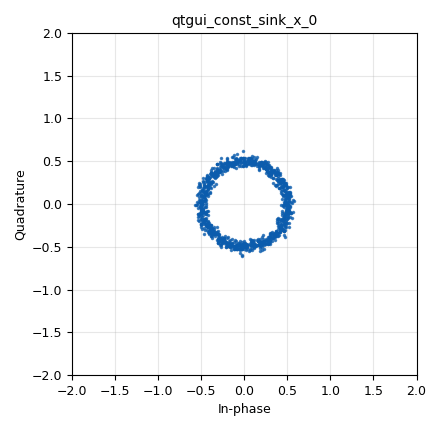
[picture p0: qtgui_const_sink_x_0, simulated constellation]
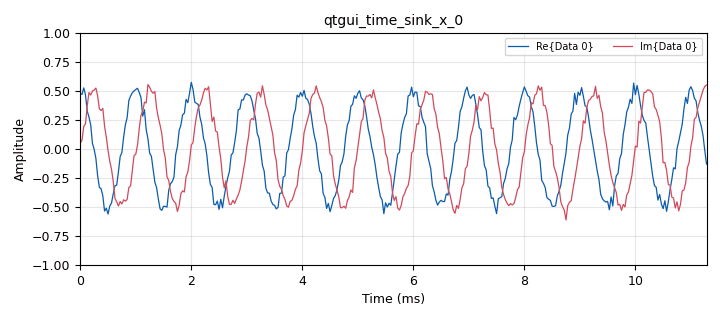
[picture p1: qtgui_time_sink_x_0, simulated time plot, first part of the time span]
<?xml version='1.0' encoding='utf-8'?>
<?grc format='1' created='3.7.13'?>
<flow_graph>
<block>
<key>options</key>
<param><key>id</key><value>b_help</value></param>
<param><key>author</key><value>Homero Ortega Boada</value></param>
<param><key>category</key><value>comdiguis</value></param>
<param><key>description</key><value>Guardando aqui todos los bloques de programacion embebida</value></param>
<param><key>generate_options</key><value>hb_qt_gui</value></param>
<param><key>title</key><value>b_help</value></param>
</block>
<block>
<key>variable_qtgui_check_box</key>
<param><key>id</key><value>run_stop</value></param>
<param><key>value</key><value>True</value></param>
<param><key>_enabled</key><value>0</value></param>
<param><key>false</key><value>False</value></param>
<param><key>gui_hint</key><value>0,0,1,1</value></param>
<param><key>label</key><value>Inicial/Parar</value></param>
<param><key>true</key><value>True</value></param>
<param><key>type</key><value>real</value></param>
</block>
<block>
<key>variable</key>
<param><key>id</key><value>samp_rate</value></param>
<param><key>value</key><value>32000</value></param>
</block>
<block>
<key>epy_block</key>
<param><key>id</key><value>VCO_hob</value></param>
<param><key>_source_code</key><value>import math
import numpy as np
from gnuradio import gr

class blk(gr.sync_block):
    """genera una senoidad cuyos parametros pueden ser manipulados por las senales entrantes asi: la primera senal manipula la amplitud; la segunda la frecuencia; la tercera la fase"""
    def __init__(self):  # only default arguments here
        gr.sync_block.__init__(
            self,
            name='VCO_hob',   # will show up in GRC
            in_sig=[np.float32, np.float32, np.float32],
            out_sig=[np.float32]
        )
        self.n_m=0 # guarda el ultimo valor de n

    def work(self, input_items, output_items):
        A=input_items[0]
        F=input_items[1]
        P=input_items[2]
        out=output_items[0]
        L=len(A)
        n=np.linspace(self.n_m, self.n_m+L-1,L)
        self.n_m += L
        out[:]=A*np.cos(2*math.pi*F*n+P)
        return len(out)
</value></param>
<param><key>_enabled</key><value>0</value></param>
</block>
<block>
<key>analog_noise_source_x</key>
<param><key>id</key><value>analog_noise_source_x_0</value></param>
<param><key>amp</key><value>0.1</value></param>
<param><key>noise_type</key><value>analog.GR_GAUSSIAN</value></param>
<param><key>type</key><value>complex</value></param>
<param><key>seed</key><value>0</value></param>
</block>
<block>
<key>analog_sig_source_x</key>
<param><key>id</key><value>analog_sig_source_x_0</value></param>
<param><key>amp</key><value>1</value></param>
<param><key>freq</key><value>1000</value></param>
<param><key>offset</key><value>0</value></param>
<param><key>type</key><value>complex</value></param>
<param><key>samp_rate</key><value>samp_rate</value></param>
<param><key>waveform</key><value>analog.GR_COS_WAVE</value></param>
</block>
<block>
<key>epy_module</key>
<param><key>id</key><value>coding</value></param>
<param><key>source_code</key><value># this module will be imported in the into your flowgraph
import numpy
import math
#######################################################
##        Done by Homero Ortega Boada              ##
##        comdiguis@saber.uis.edu.co                 ##
##     Universidad Industrial de Santander           ##
#######################################################
#######################################################
##       Constellation map  identification           ##
#######################################################                  
# Constellation points are analyzed to determine the 
# the map used for ordering of the constellation points
def sum_modulus(a,b,modulus):
    # realiza una suma de a y b en modulo modulus
    return (a+b)%modulus

def angle_map(constellation_points):
    # esta funcion entrega todos los angulos positivos entre 0 y 2pi
    angles=numpy.angle(constellation_points)
    return sum_modulus(angles, 2*math.pi, 2*math.pi)

def inverse_map(constellation_points):
    M=len(constellation_points)
    angles=angle_map(constellation_points)
    angles=sum_modulus(angles,-angles[0], 2*math.pi) # giro a agulo cero
    delta_angle= 2*math.pi/M     # angulo entre puntos
    cod_inv=numpy.round(angles/delta_angle)
    cod_inv=cod_inv.astype(numpy.int) #conversion a entero 
    return cod_inv

def direct_map(constellation_points):
    M=len(constellation_points)
    codinv=inverse_map(constellation_points)
    coddirect=numpy.array([0]*M)
    for j in range(M):
        temp=numpy.where(codinv==j)
        coddirect[j]=temp[0][0]
    return coddirect

""" # SECCION DE PRUEBAS DEL CODIGO
import gnuradio.digital as digital
constelacion=digital.constellation_8psk().points()
print("constelacion = ", constelacion)
mapdirect=direct_map(constelacion)
print("codigo directo = ", mapdirect)
mapinverse=inverse_map(constelacion)
print("codigo inverso = ", mapinverse)
"""






</value></param>
</block>
<block>
<key>epy_block</key>
<param><key>id</key><value>e_Add</value></param>
<param><key>_source_code</key><value>import numpy as np
from gnuradio import gr

class blk(gr.sync_block):  
#    """Suma dos senales tipo char"""
    def __init__(self,):  # only default arguments here
        gr.sync_block.__init__(
            self,
            name='e_Add_bb',   # will show up in GRC
            in_sig=[np.int8, np.int8],
            out_sig=[np.int8]
        )

    def work(self, input_items, output_items):
        output_items[0][:] = input_items[0]+input_items[1]
        return len(output_items[0])
</value></param>
<param><key>_enabled</key><value>0</value></param>
</block>
<block>
<key>epy_block</key>
<param><key>id</key><value>e_M_decisor_0</value></param>
<param><key>_source_code</key><value>import numpy as np
from gnuradio import gr

class blk(gr.sync_block):  
#    """M-ary Decisor. Es un decisor para senales M_PAM. VP es el valor pico de la senal entrante"""
    def __init__(self,M=4, Vp=4):  # only default arguments here
        gr.sync_block.__init__(
            self,
            name='e_M_PAM_decisor',   # will show up in GRC
            in_sig=[np.float32],
            out_sig=[np.int8]
        )
	self.M=M
	self.Vp=Vp

    def work(self, input_items, output_items):
	mpam_con_ruido=input_items[0]*(self.M+1)/(2*self.Vp)
	mpam_sin_ruido=np.round(mpam_con_ruido)

        output_items[0][:] = mpam_sin_ruido.astype(np.int8)
        return len(output_items[0])
</value></param>
<param><key>_enabled</key><value>0</value></param>
<param><key>M</key><value>M</value></param>
<param><key>Vp</key><value>3</value></param>
</block>
<block>
<key>epy_block</key>
<param><key>id</key><value>e_Multiply</value></param>
<param><key>_source_code</key><value>import numpy as np
from gnuradio import gr

class blk(gr.sync_block):  
#    """Multiplica dos senales tipo char"""
    def __init__(self,):  # only default arguments here
        gr.sync_block.__init__(
            self,
            name='e_Multiply_bb',   # will show up in GRC
            in_sig=[np.int8, np.int8],
            out_sig=[np.int8]
        )

    def work(self, input_items, output_items):
        output_items[0][:] = input_items[0]*input_items[1]
        return len(output_items[0])
</value></param>
<param><key>_enabled</key><value>0</value></param>
</block>
<block>
<key>epy_block</key>
<param><key>id</key><value>e_VCO_fase_fc_0</value></param>
<param><key>_source_code</key><value>
import numpy as np
from gnuradio import gr


class blk(gr.sync_block):  
    """Done by Homero Ortega Boada. Es un VCO dos entradas: 
	in0 para manipular la fase, in1 para manipular la 
	magnitud. En el fondo es el equivalente a un generador
	de una senal exponencial compleja. Sobre la configuracion:
	cada valor de la senal en in0 es interpretada como la fase
	deseada en radianes. cada valor de in0, es la magnitud deseada"""

    def __init__(self): 
        gr.sync_block.__init__(self,
            name='e_VCO_fase_fc',
	    in_sig=[np.float32, np.float32],
            out_sig=[np.complex64]
        )
    def work(self, input_items, output_items):
	in0=input_items[0]
	in1=input_items[1]
	out0=output_items[0]
	out0[:] = in1*np.exp(1.j*in0)
	return len(out0)
</value></param>
<param><key>_enabled</key><value>0</value></param>
</block>
<block>
<key>epy_block</key>
<param><key>id</key><value>e_VCO_fase_fc_0_0</value></param>
<param><key>_source_code</key><value>
import numpy as np
from gnuradio import gr


class blk(gr.sync_block):  
    """Done by Homero Ortega Boada. Es un VCO dos entradas: 
	in0 para manipular la fase, in1 para manipular la 
	magnitud. En el fondo es el equivalente a un generador
	de una senal exponencial compleja. Sobre la configuracion:
	cada valor de la senal en in0 es interpretada como la fase
	deseada en radianes. cada valor de in0, es la magnitud deseada"""

    def __init__(self): 
        gr.sync_block.__init__(self,
            name='e_VCO_fase_fc',
	    in_sig=[np.float32, np.float32],
            out_sig=[np.complex64]
        )
    def work(self, input_items, output_items):
	in0=input_items[0]
	in1=input_items[1]
	out0=output_items[0]
	out0[:] = in1*np.exp(1.j*in0)
	return len(out0)
</value></param>
<param><key>_enabled</key><value>0</value></param>
</block>
<block>
<key>epy_block</key>
<param><key>id</key><value>e_bipol_to_unip</value></param>
<param><key>_source_code</key><value>import numpy as np
from gnuradio import gr

class blk(gr.sync_block):  
#    """convierte de bipolar a unipolar una senal tipo char"""
    def __init__(self,):  # only default arguments here
        gr.sync_block.__init__(
            self,
            name='e_bipolar_to_unipolar_bb',   # will show up in GRC
            in_sig=[np.int8],
            out_sig=[np.int8]
        )

    def work(self, input_items, output_items):

        output_items[0][:] = (input_items[0]+1)/2
        return len(output_items[0])
</value></param>
<param><key>_enabled</key><value>0</value></param>
</block>
<block>
<key>epy_block</key>
<param><key>id</key><value>e_bipol_to_unip_M</value></param>
<param><key>_source_code</key><value>import numpy as np
from gnuradio import gr

class blk(gr.sync_block):  
#    """convierte de bipolar a unipolar una senal tipo char M-aria"""
    def __init__(self, M=2):  # only default arguments here
        gr.sync_block.__init__(
            self,
            name='e_bipolar_to_unipolar_M_bb',   # will show up in GRC
            in_sig=[np.int8],
            out_sig=[np.int8]
        )
	self.M=M
    def work(self, input_items, output_items):

        output_items[0][:] = (input_items[0]+(self.M-1))/2
        return len(output_items[0])
</value></param>
<param><key>_enabled</key><value>0</value></param>
<param><key>M</key><value>2</value></param>
</block>
<block>
<key>epy_block</key>
<param><key>id</key><value>e_c_p</value></param>
<param><key>_source_code</key><value>import numpy as np
from gnuradio import gr

class blk(gr.sync_block):  
    """Autor: Homero Ortega. Permite obtener la fase de una senal compleja. A diferencia de otros bloques de gnuradio, este entrega valores positivos de fase entre 0 y 2pi. M es el numero de posibles fases discretas que trae la senal"""
    def __init__(self,M=4):  # only default arguments here
        gr.sync_block.__init__(
            self,
            name='Complex to Phase',   # will show up in GRC
            in_sig=[np.complex64],
            out_sig=[np.float32]
        )
	self.M=M
	self.p2=2.*np.pi
	self.p_margen=self.p2/(M*2.)

    def work(self, input_items, output_items):
	fases=np.angle(input_items[0]) # tiene valores negativos
	fases=(fases+self.p_margen +self.p2)% self.p2-self.p_margen
        output_items[0][:] = fases
        return len(output_items[0])
</value></param>
<param><key>_enabled</key><value>0</value></param>
<param><key>M</key><value>M</value></param>
</block>
<block>
<key>epy_block</key>
<param><key>id</key><value>e_fft_gnu</value></param>
<param><key>_source_code</key><value>import numpy as np
from gnuradio import gr


class e_vector_fft_mag_ff(gr.sync_block):
    """calcula la fft en magnitud a una senal vectorial de N muestras y emtrega N muestras del espectro. N deber ser potencia de 2"""

    def __init__(self, N=128):  
        gr.sync_block.__init__(
            self,
            name='e_vector_mag_fft_ff',   
            in_sig=[(np.float32,N)],
            out_sig=[(np.float32,N)]
        )
        self.N = N

    def work(self, input_items, output_items):
        in0 = input_items[0]
    	out0 = output_items[0]
    	out0[:]=abs(np.fft.fftshift(np.fft.fft(in0,self.N),1)) 
        return len(output_items[0])
</value></param>
<param><key>_enabled</key><value>0</value></param>
<param><key>N</key><value>N</value></param>
</block>
<block>
<key>epy_block</key>
<param><key>id</key><value>e_fft_gnu_0</value></param>
<param><key>_source_code</key><value>import numpy as np
from gnuradio import gr


class e_vector_fft_ff(gr.sync_block):
    """calcula la fft pura a una senal vectorial de N muestras y emtrega N muestras del espectro. N deber ser potencia de 2"""

    def __init__(self, N=128):  
        gr.sync_block.__init__(
            self,
            name='e_vector_fft_ff',   
            in_sig=[(np.float32,N)],
            out_sig=[(np.float32,N)]
        )
        self.N = N

    def work(self, input_items, output_items):
        in0 = input_items[0]
    	out0 = output_items[0]
    	out0[:]=np.fft.fft(in0,self.N) 
        return len(output_items[0])
</value></param>
<param><key>_enabled</key><value>0</value></param>
<param><key>N</key><value>N</value></param>
</block>
<block>
<key>epy_block</key>
<param><key>id</key><value>e_mpam_ph</value></param>
<param><key>_source_code</key><value>import numpy as np
from gnuradio import gr

class blk(gr.sync_block):  
#    """Traduce M_PAM a valores de fase"""
    def __init__(self,M=4):  # only default arguments here
        gr.sync_block.__init__(
            self,
            name='M_PAM to Phase',   # will show up in GRC
            in_sig=[np.int8],
            out_sig=[np.float32]
        )
	self.M=M
	self.p2=2.*np.pi

    def work(self, input_items, output_items):
	#fases=input_items[0]*self.p2/self.M

        output_items[0][:] = input_items[0]*self.p2/self.M
        return len(output_items[0])
</value></param>
<param><key>_enabled</key><value>0</value></param>
<param><key>M</key><value>M</value></param>
</block>
<block>
<key>epy_block</key>
<param><key>id</key><value>e_phase</value></param>
<param><key>_source_code</key><value>import numpy as np
from gnuradio import gr

class blk(gr.sync_block):  
#    """Traduce fases a valores de M_PAM y aplica decisor mediante redondeo"""
    def __init__(self,M=4):  # only default arguments here
        gr.sync_block.__init__(
            self,
            name='phase to M_PAM',   # will show up in GRC
            in_sig=[np.float32],
            out_sig=[np.float32]
        )
	self.M=M
	self.p2=2.*np.pi

    def work(self, input_items, output_items):
	mpam_con_ruido=input_items[0]*self.M/self.p2
	mpam_sin_ruido=np.round(mpam_con_ruido)

        output_items[0][:] = mpam_sin_ruido
        return len(output_items[0])
</value></param>
<param><key>_enabled</key><value>0</value></param>
<param><key>M</key><value>M</value></param>
</block>
<block>
<key>epy_block</key>
<param><key>id</key><value>e_phase_0</value></param>
<param><key>_source_code</key><value>import numpy as np
from gnuradio import gr

class blk(gr.sync_block):  
#    """Traduce fases a valores de M_PAM y aplica decisor mediante redondeo"""
    def __init__(self,M=4):  # only default arguments here
        gr.sync_block.__init__(
            self,
            name='phase to M_PAM',   # will show up in GRC
            in_sig=[np.float32],
            out_sig=[np.int8]
        )
	self.M=M
	self.p2=2.*np.pi

    def work(self, input_items, output_items):
	mpam_con_ruido=input_items[0]*self.M/self.p2
	mpam_sin_ruido=np.round(mpam_con_ruido)

        output_items[0][:] = mpam_sin_ruido.astype(np.int8)
        return len(output_items[0])
</value></param>
<param><key>_enabled</key><value>0</value></param>
<param><key>M</key><value>M</value></param>
</block>
<block>
<key>epy_module</key>
<param><key>id</key><value>e_signal</value></param>
<param><key>source_code</key><value>################################################################################
##           Funciones sigulares en Tratamiento de senales y sistemas         ##
################################################################################
# Lo siguiente aplica para todas las funciones aqui incluidas:
# cada funcion busca generar un tipo de forma de pulso rodeada de ceros
# los resultados se entregan en forma de un vector x
# Estos son los parametros usados:
# ntaps: es el tamano del vector y coincide con la duracion de la senal generada
# nzero: es el numero de ceros que rodean el pulso generado. Si nzero=0 no 
# habran ceros.
import numpy as np

def pulse_rect(ntaps,nzeros):
# Descripcion: esta funcion permite generar un pulso rectangular discreto
	n_val=ntaps-nzeros             # el numero de valores no iguales a cero
	x=np.zeros(ntaps)       # crea un vector de tamano ntaps lleno de ceros
	ntaps_m= int(ntaps/2)                # el punto medio del vector
	ntaps_i= ntaps_m-int(n_val/2)        # el punto de inicio para los unos
	x[ntaps_i:ntaps_i+n_val:1]=np.ones(n_val) # llenado de los unos
	return x

def pulse_ramp(ntaps,nzeros):
# Descripcion: esta funcion permite generar un pulso en forma de rampa discreto
	n_val=ntaps-nzeros            
	x=np.zeros(ntaps)             
	ntaps_m= int(ntaps/2)         
	ntaps_i= ntaps_m-int(n_val/2) 
	x[ntaps_i:ntaps_i+n_ones:1]=np.linspace(0,n_val-1,n_val) 
	return x

def pulse_delta(ntaps):
# Descripcion: esta funcion permite generar la funcion impulso o funcion
# delta de Dirac discreta
	x=np.zeros(ntaps)                      
	ntaps_m= int(ntaps/2)                  
	x[ntaps_m]=1                           
	return x

def pulse_doublet(ntaps):
# Descripcion: esta funcion permite generar una funcion doblete unitario discreta
	x=np.zeros(ntaps)                      
	ntaps_m= int(ntaps/2)                  
	x[ntaps_m]=1                           
	x[ntaps_m+1]=-1                        
	return x

def pulse_step(ntaps, nzeros):
# Descripcion: esta funcion permite generar una funcion escalon de Heaviside
	n_val=ntaps-nzeros                     
	x=np.zeros(ntaps)                      
	x[nzeros:ntaps:1]=np.ones(n_val) 
	return x

def pulse_exp(ntaps,nzeros, C, a):
# Descripcion: Para generar una funcion exponencial de la forma Ca^n, 
# donde n es tiempo discreto
	n_val=ntaps-nzeros                        
	x=np.zeros(ntaps)                         
	ntaps_i = nzeros                    
	n=np.linspace(0,n_val-1,n_val)      
	x[ntaps_i:ntaps:1]=C*np.power(a,n) 
	return x

</value></param>
</block>
<block>
<key>epy_block</key>
<param><key>id</key><value>e_unip_to_bipol</value></param>
<param><key>_source_code</key><value>import numpy as np
from gnuradio import gr

class blk(gr.sync_block):  
#    """convierte de unipolar a bipolar una senal tipo char"""
    def __init__(self,):  # only default arguments here
        gr.sync_block.__init__(
            self,
            name='e_unipolar to bipolar_bb',   # will show up in GRC
            in_sig=[np.int8],
            out_sig=[np.int8]
        )

    def work(self, input_items, output_items):

        output_items[0][:] = input_items[0]*2-1
        return len(output_items[0])
</value></param>
<param><key>_enabled</key><value>0</value></param>
</block>
<block>
<key>epy_block</key>
<param><key>id</key><value>e_unip_to_bipol_M</value></param>
<param><key>_source_code</key><value>import numpy as np
from gnuradio import gr

class blk(gr.sync_block):  
#    """convierte de unipolar a bipolar una senal tipo char M-aria. El parametro M es para indicar si la senal es binaria (M=2), cuaternaria M=4, etc"""
    def __init__(self,M=2):  # only default arguments here
        gr.sync_block.__init__(
            self,
            name='e_unipolar to bipolar_M_bb',   # will show up in GRC
            in_sig=[np.int8],
            out_sig=[np.int8]
        )
	self.M=M

    def work(self, input_items, output_items):

        output_items[0][:] = input_items[0]*2-(self.M-1)
        return len(output_items[0])
</value></param>
<param><key>_enabled</key><value>0</value></param>
<param><key>M</key><value>2</value></param>
</block>
<block>
<key>epy_block</key>
<param><key>id</key><value>epy_block_0</value></param>
<param><key>_source_code</key><value>import numpy as np
from gnuradio import gr

class blk(gr.sync_block):  
    """Coverts phase with some negative values to all positive values"""
    def __init__(self,):  # only default arguments here
        gr.sync_block.__init__(
            self,
            name='positphase',   # will show up in GRC
            in_sig=[np.float32],
            out_sig=[np.float32]
        )
	self.p2=2*np.pi

    def work(self, input_items, output_items):
        output_items[0][:] = (input_items[0] +self.p2) % self.p2
        return len(output_items[0])
</value></param>
<param><key>_enabled</key><value>0</value></param>
</block>
<block>
<key>epy_block</key>
<param><key>id</key><value>epy_block_0_0</value></param>
<param><key>_source_code</key><value>import numpy as np
from gnuradio import gr

class mean_meter(gr.sync_block):
    """Descripcion del bloque """
    def __init__(self):
        gr.sync_block.__init__(self,
            name="e_mean_meter_ff",
            in_sig=[np.float32],
            out_sig=[np.float32])

        # variables externas
	self.contador = 0
	self.acum=0
    def work(self, input_items, output_items):
        # traduccion a algo que podemos manejar mejor
        in0 = input_items[0]
        out0 = output_items[0]
        # Logica principal
	self.contador += len(in0)
	self.acum += np.sum(in0)
	out0[:] = self.acum/self.contador
        return len(output_items[0])

</value></param>
<param><key>_enabled</key><value>0</value></param>
</block>
<block>
<key>epy_block</key>
<param><key>id</key><value>epy_block_0_0_0</value></param>
<param><key>_source_code</key><value>import numpy as np
from gnuradio import gr

class decimator(gr.decim_block):
    """Elimins paso-1 muestras, de manera que solo quedan vigentes las muestras separadas en paso muestras"""
    def __init__(self, paso=2):
        gr.decim_block.__init__(self,
            name="e_diezmad_ff",
            in_sig=[np.float32],
            out_sig=[np.float32], decim=paso)

        # variables externas
	self.paso = paso
	
    def work(self, input_items, output_items):
        # traduccion a algo que podemos manejar mejor
        in0 = input_items[0]
        out0 = output_items[0]
        # Logica principal
	out0[:] = in0[::self.paso]
        return len(output_items[0])

</value></param>
<param><key>_enabled</key><value>0</value></param>
<param><key>paso</key><value>Kd</value></param>
</block>
<block>
<key>epy_block</key>
<param><key>id</key><value>epy_block_0_1</value></param>
<param><key>Ac</key><value>1.0</value></param>
<param><key>_source_code</key><value>"""
Embedded Python Blocks:

Each time this file is saved, GRC will instantiate the first class it finds
to get ports and parameters of your block. The arguments to __init__  will
be the parameters. All of them are required to have default values!
"""

import numpy as np
from gnuradio import gr


class blk(gr.sync_block):  
    """Done by Homero Ortega Boada"""

    def __init__(self, samp_rate=200000., Ac=1.):  # only default arguments here
        """arguments to this function show up as parameters in GRC"""
        gr.sync_block.__init__(
            self,
            name='e_VCO_frec_fc',   # will show up in GRC
            in_sig=[np.float32],
            out_sig=[np.complex64]
        )
        self.samp_rate = float(samp_rate)
        self.Ac = Ac
	self.last_t=0.

    def work(self, input_items, output_items):
	in0=input_items[0]
	out0=output_items[0]
        L=len(in0)
	t=np.arange(L)/self.samp_rate+self.last_t
	theta=2.*np.pi*in0*t
	out0[:] = self.Ac*np.exp(1.j*theta)
	self.last_t += L/self.samp_rate
	return len(out0)
</value></param>
<param><key>_enabled</key><value>0</value></param>
<param><key>samp_rate</key><value>samp_rate</value></param>
</block>
<block>
<key>epy_block</key>
<param><key>id</key><value>epy_block_0_2</value></param>
<param><key>_source_code</key><value>from gnuradio import gr
import numpy as np
 
# Es conveninte hacer que nombre de una clase finalice con una o dos letras especiales:
# -  nombre_ff: cuando en el bloque sus entradas y salidas son senales reales y de tipo flotante
# -  nombre_f: el bloque solo tiene una entrada o una salida y es una senal real de tipo flotante
# -  En vez de "f" pueden usarse: c (senal compleja),  i (entera), b (binaria), etc.
# -  si el es bloque es vectorial, tambien es importante denotarlo, entonces a las letras
# anteriores le vamos a anteponer las letras vec
# -  No es conveniento antepoler letras distintivas al nombre de un bloque ya que eso
# hace que sea mas dificl de encontrarlo con las ayudas de un IDE com Visual Studio Code
# -  cuando se trate de un bloque jerarquico, los apuntadores a esos bloques los vamos
# a  senalar conmenzando el apuntador con p_, por ejemplo p_fuente=my.e_generador_fun_f()
# Un bloque puede ser de varios tipos y eso se define en la clase como:
# . gr.sync_block: cuando es de tipo sincrono
# - gr.top_block: cuando es el flujograma principal
# - gr.decim_block: cuando hay k muestras en la entrada por cada muestra saliente
# - gr.interp_block: cuando hay k muestras en la salida por cada muestra entrante
# - gr.hier_block2: cuando el bloque es como un flujograma
# . gr.basic_block: otros casos
# Nota: esta plantilla tambien puede ser consultada en: https://github.com/hortegab/comdig_lib_code.git

class e_add_cc(gr.sync_block):  
    """Aqui debes explicar como funciona el bloque, los parametros usados. En este caso particular el proposito es que esta clase sirva como ejemplo o plantilla para otras clase. La idea es que cada vez que vayas a crear una clase para un bloque GNU Radio vuelvas aqui ya que no es facil memorizar todos los detalles para crear un bloque GNU Radio. En todo caso, el ejemplo consiste en un bloque para una suma escalada de dos senales complejas. Por lo tanto hay dos senales de entrada y una de salida. Si escala=0.5 lo que se logra es promediar las dos senales"""
 
    # Dentro de la funcion __init__(), deben definirse los parametros de configuracion del bloque.
    # A cada parametro se le da un valor por defecto
    # ejemplo 1, solo hay un parametro de configuracion: def __init__(self, amp=1.0)
    # ejemplo 2, hay dos parametros: def __init__(self, amp=1.0, samp_rate= 32000)
    # - si el bloque es vectorial hay que incluir la variable que marca el tamano del vector
    # para reconocerla siempre usaremos Nvec
    # - Nota: los bloques vectoriales se pueden implementar como embebidos, pero hay
    #          que tener en cuenta que el tamano del vector queda estatico
    #          sujeto al valor configurado internamente en este codigo. Eso quiza sera resuelto
    #          en la siguiente version de gnuradio.
    # por ejemplo def __init__(self, amp=1.0, samp_rate= 32000, Nvec=128)
    # a continuacion esta el caso de un solo parametro que hemos llamado escala
    def __init__(self, escala=0.5):

        # En la siguiente funcion debes recordar que usaras:
        # - sync: cuando tu bloque sea un bloque de tipo sincrono (por cada muestra entrante habra una saliente)
        # - decim: cuando es un bloque decimador (por cada muestra saliente hay un numero entero de muestras entrantes)
        # - interp: cuando es un bloque interpolador (por cada muestra entrante hay un numero entero de muestras salientes)
        # - basic: cuando no hay relacion entre el numero de muestras entrantes y las salientes
        # self: Es necesario para que la funcion adminita el uso de self en su cuerpo para declarar
        # variables que pueden ser usadas por otras funciones.
        # mas en: https://wiki.gnuradio.org/index.php/Guided_Tutorial_GNU_Radio_in_Python#3.3.1._Choosing_a_Block_Type
        gr.sync_block.__init__(
            self,
 
            # Lo siguiente es para definir el nombre que tendra nuestro bloque para los usuarios de GRC
            name='Plantilla__detallada_para_crear_bloques_cc', 

            # A continuacion se definen los tipos de senales de entrada y salida. Veamos algunos ejemplos:
            # - [np.complex64]: cuando se tiene una sola senal y es compleja
            # - [np.float32]: cuando se tiene una sola senal y es de tipo real y flotante
            # - [np.float32, np.complex64]: cuando hay dos senales: una de tipo real flotante y la otra es compleja
            # - otros casos: int8 o byte (entero de 8 bits, que en C++ se conoce como char)
            # - No hemos explorado mas casos, pero no es tan sencillo. Uno supondria que otros casos posibles son:
            # int16 (en C++ se conoce como short), int32, int64. Los dos primeros funcionan, pero int64 no.
            # - En el caso de un bloque vectorial aqui hay que indicarlo entre (). Veamos ejemplos:
            #   Ejemplo 1: el bloque tiene una entraga y unsa salida y ambas son reales y vectoriales
            #    y el tamano del vectorr es Nvec, entonces se declara asi:
            #   * in_sig=[(np.float32,Nvec)],
            #   * out_sig=[(np.float32,Nvec)]
            # En el siguiente ejemplo hay dos entradas complejas y una salida real. Todas tipo stream 
            in_sig=[np.complex64,np.complex64], 
            out_sig=[np.complex64]
        )
 
        # las variables que entran como parametros del bloque deben ser declaradas nuevamente asi:
        self.escala=escala
 
        # abajo se puede escribir lo que se le antoje al programador, por ejemplo:
        # self.coef=1.0: define la variable global coef y le asigna el valor 1.0
        # self significa que es una variable global, que se puede invocar directamente desde otras funciones.
        # En todo caso, para las cosas que se definan aqui hay que tener en cuenta que:
        # -  esto es parte del constructor de la clase, por lo tanto, por cada bloque que se cree con esta clase
        #    estas cosas se invocaran solo una vez
        # -  Se supone que lo que se cree aqui es para ser usado, de manera que deberia ser usado en work()
        # A continuacion vamos a suponer que necesitamos usar constante  coef=1.0
        self.coef = 1.0
 
    # La funcion work() siempre debe estar presente en un bloque. Es alli donde estara la logica del bloque 
    # Es importante que tengas en cuenta lo siguiente:
    # - Para las senales tipo stream se tiene que:
    #    * input_items: es un arreglo de MxN. M es el numero de entradas, N el numero de muestras de la senal
    #    * in0=input_items[0]: es un vector de longitud N, por lo tanto trae N muestras de una senal
    #    * in1=input_items[1]: es un vector de longitud N, por lo tanto trae N muestras de una segunda senal
    #    * M esta definido por la cantidad de entradas que tiene el bloque, es decir, lo declarado arriba en in_sig
    #    * N va cambiando con cada nueva rafaga de muestras, de modo que es un valor desconocido
    #        se puede calcular como N=len(input_items[0])
    # - Si el bloque es de tipo vectorial, tenemos que el bloque input_items es un array MxLxNvec
    #    * M hace referencia a las senales de entrada (representa el fondo de un cubo)
    #    * L Al numero de paquetes recibidos (representa la altura del cubo)
    #    * Nvec al numero de muestras por vector (representa el ancho del cubo)
    #    * A cada entrada le corresponde una matriz LxNvec, por ejemplo para la entrada cero tenmos
    #    * in0=input_items[0] es una matriz LxNvec, es decir una senal que trae L vectores de Nvec muestras
    #    * Por tanto in0[0] es el primer vector de muestras de la senal, in0[1] el segundo, etc.
    # En el caso de output_items, aplica lo mismo dicho para input_items, pero con las senales
    # de salida y lo definido para out_sig
    # el "self" en la declaracion creo que es para que la funcion acepte el uso de self internamente
    def work(self, input_items, output_items):
        in0 = input_items[0]
        in1 = input_items[1]
        out0 = output_items[0]
        out0[:]=(in0+in1)*self.escala/self.coef
        return len(out0)
</value></param>
<param><key>escala</key><value>0.5</value></param>
</block>
<block>
<key>epy_block</key>
<param><key>id</key><value>epy_block_0_3</value></param>
<param><key>_source_code</key><value>"""
Embedded Python Blocks:

Each time this file is saved, GRC will instantiate the first class it finds
to get ports and parameters of your block. The arguments to __init__  will
be the parameters. All of them are required to have default values!
"""

import numpy as np
from gnuradio import gr


class blk(gr.sync_block):  # other base classes are basic_block, decim_block, interp_block
    """Suma por mudulo M"""

    def __init__(self, M=4, sumando=1):  # only default arguments here
        """arguments to this function show up as parameters in GRC"""
        gr.sync_block.__init__(
            self,
            name='Sum Mod',   # will show up in GRC
            in_sig=[np.int8],
            out_sig=[np.int8]
        )
        # if an attribute with the same name as a parameter is found,
        # a callback is registered (properties work, too).
        self.M = M
	self.sumando=sumando

    def work(self, input_items, output_items):
        """suma en modulo M"""
        output_items[0][:] = (input_items[0] + self.sumando%self.M)%self.M
        return len(output_items[0])
</value></param>
<param><key>_enabled</key><value>0</value></param>
<param><key>M</key><value>M</value></param>
<param><key>sumando</key><value>3</value></param>
</block>
<block>
<key>epy_block</key>
<param><key>id</key><value>epy_block_0_4</value></param>
<param><key>_source_code</key><value>"""
Embedded Python Blocks:

Each time this file is saved, GRC will instantiate the first class it finds
to get ports and parameters of your block. The arguments to __init__  will
be the parameters. All of them are required to have default values!
"""

import numpy as np
from gnuradio import gr


class blk(gr.sync_block):  # other base classes are basic_block, decim_block, interp_block
    """Gray Code Converter. Supongamos que tienes una senal dada en simbolos M_PAM, pero necesitas que esos valores M-PAM se expresen en codigo Gray. Esta seria la solucion"""

    def __init__(self):  # only default arguments here
        """arguments to this function show up as parameters in GRC"""
        gr.sync_block.__init__(
            self,
            name='Gray Code Converter',   # will show up in GRC
            in_sig=[np.int8],
            out_sig=[np.int8]
        )
        # if an attribute with the same name as a parameter is found,
        # a callback is registered (properties work, too).
        

    def work(self, input_items, output_items):
        """la conversion a gray code"""
        output_items[0][:] = input_items[0] ^ (input_items[0] &gt;&gt; 1)
        return len(output_items[0])
</value></param>
<param><key>_enabled</key><value>0</value></param>
</block>
<block>
<key>epy_module</key>
<param><key>id</key><value>formas</value></param>
<param><key>source_code</key><value>import math
import numpy as np
# Cada funcion siguinete es una forma de pulso para una senal digital
# Los parametros comunmente usados son:
# Sps (Samples per simbol): Duracion de un simbolo en tiempo discreto
# ntaps: es el numero de muestras a generar por simbolo. Esto debido a que,
# en la practica, un simbolo puede invadir a otros simbolos (ISI), asi que
# las muestras de un simbolo se pueden expandir mas alla de Sps

# Bipolar non return to zero level signal
def B_NRZ_L(Sps):
    return Sps*[1.,]
##  Forma sinc 
def sinc(Sps,ntaps):
    n=np.linspace(-int(ntaps/2), int(ntaps/2-1),ntaps)
    h=np.sinc(n/Sps)
    return h
# forma diente se sierra
def saw(Sps):
    return np.linspace(0,Sps-1,Sps)	
# Bipolar non return to zero signal
def RZ(Sps):
    h=Sps*[1.,]
    Sps_m=int(Sps/2)
    h[Sps_m+1:Sps:1]=np.zeros(Sps-Sps_m)
    return h

</value></param>
</block>
<block>
<key>qtgui_const_sink_x</key>
<param><key>id</key><value>qtgui_const_sink_x_0</value></param>
<param><key>size</key><value>1024</value></param>
<param><key>type</key><value>complex</value></param>
</block>
<block>
<key>qtgui_time_sink_x</key>
<param><key>id</key><value>qtgui_time_sink_x_0</value></param>
<param><key>color1</key><value>"blue"</value></param>
<param><key>label1</key><value></value></param>
<param><key>color2</key><value>"red"</value></param>
<param><key>label2</key><value></value></param>
<param><key>size</key><value>1024</value></param>
<param><key>srate</key><value>samp_rate</value></param>
<param><key>type</key><value>complex</value></param>
</block>
<block>
<key>epy_module</key>
<param><key>id</key><value>wform</value></param>
<param><key>source_code</key><value>import math
import numpy
#######################################################
##        Hecho por Homero Ortega Boada              ##
##        comdiguis@saber.uis.edu.co                 ##
##     Universidad Industrial de Santander           ##
#######################################################

#######################################################
##               Forma rectangular                   ##
#######################################################                       
def rect(Sps):
    return Sps*[1.,]

#######################################################
##               Forma de Nyquist                    ##
#######################################################                       
def nyq(Sps,ntaps):
    n=numpy.linspace(-int(ntaps/2), int(ntaps/2-1),ntaps)
    h=numpy.sinc(n/Sps)
#    return h/numpy.amax(h)
    return h
#######################################################
##               Forma Coseno Alzado                 ##
#######################################################                       
def rcos(Sps,ntaps,beta):
    if beta==0:
        h=nyq(Sps,ntaps)
    else:
        h=ntaps*[0,]
        for n in range(ntaps):
            k=n-ntaps/2. # esto es para que h[n] quede centrada en la mitad del vector
            if abs(k)==Sps/(2.*beta):
                h[n]=numpy.sinc(1./(2.*beta))*math.pi/4.
            else:
                h[n]=numpy.sinc(k/Sps)*math.cos(beta*k*math.pi/Sps)/(1.-(2.*beta*k/Sps)**2)                
    Amp=numpy.amax(h)
    return h/Amp
#######################################################
##            Forma Raiz de Coseno Alzado            ##
#######################################################                       

def rrcos(Sps,ntaps,beta):
    if beta==0:
        h=nyq(Sps,ntaps)
    else:
        h=ntaps*[0,]
        beta4=4.*beta
        for n in range(ntaps):
            k=n-ntaps/2. # esto es para que h[n] quede centrada en la mitad del vector
            if k==0:
                h[n]=1+beta*(4./math.pi-1.)
            elif abs(k)==Sps/beta4:
                ha=(1.+2./math.pi)*math.sin(math.pi/beta4)
                hb=(1.-2./math.pi)*math.cos(math.pi/beta4)
                h[n]=(ha+hb)*beta/math.sqrt(2.)
            else:
                ks=k/Sps
                kspi=math.pi*ks
                Num=math.sin(kspi*(1-beta))+beta4*ks*math.cos(kspi*(1+beta))
                Den=kspi*(1.-(beta4*ks)**2)
                h[n]=Num/Den                
    Amp=numpy.amax(h)
    return h/Amp
########################################################
##     Bipolar non return to zero level signal        ##
########################################################
def B_NRZ_L(Sps):
    return Sps*[1.,]

########################################################
##  Forma sinc . Es la misma nyq() que aparece arriba ##
########################################################
def sinc(Sps,ntaps):
    n=np.linspace(-int(ntaps/2), int(ntaps/2-1),ntaps)
    h=np.sinc(n/Sps)
    return h
########################################################
##              forma diente se sierra                ##
########################################################
def saw(Sps):
    return np.linspace(0,Sps-1,Sps)	
########################################################
#         Bipolar non return to zero signal           ##
########################################################
def RZ(Sps):
    h=Sps*[1.,]
    Sps_m=int(Sps/2)
    h[Sps_m+1:Sps:1]=np.zeros(Sps-Sps_m)
    return h
</value></param>
</block>
<connection><source_block_id>analog_noise_source_x_0</source_block_id><sink_block_id>epy_block_0_2</sink_block_id><source_key>0</source_key><sink_key>0</sink_key></connection>
<connection><source_block_id>analog_sig_source_x_0</source_block_id><sink_block_id>epy_block_0_2</sink_block_id><source_key>0</source_key><sink_key>1</sink_key></connection>
<connection><source_block_id>e_c_p</source_block_id><sink_block_id>e_phase</sink_block_id><source_key>0</source_key><sink_key>0</sink_key></connection>
<connection><source_block_id>epy_block_0_2</source_block_id><sink_block_id>qtgui_const_sink_x_0</sink_block_id><source_key>0</source_key><sink_key>0</sink_key></connection>
<connection><source_block_id>epy_block_0_2</source_block_id><sink_block_id>qtgui_time_sink_x_0</sink_block_id><source_key>0</source_key><sink_key>0</sink_key></connection>
</flow_graph>
